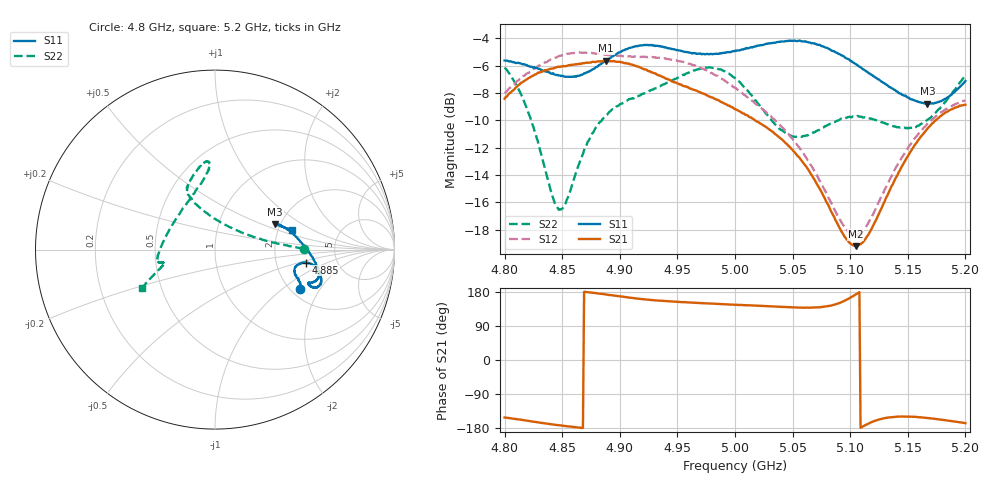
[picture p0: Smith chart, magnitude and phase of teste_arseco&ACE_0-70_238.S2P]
! Network Analyzer HP8722D
! Hewlett-Packard
! Data name: Linha & Wilkinson
! Saver's name: Rodrigo Anjos
! Comments: Teste da utilização de aquisição
! continua pelo VNA HP8722D
! Time and date: 8/5/2025 14:44
!  Frequency  S11  S21  S12  S22
# HZ  S  MA R 50
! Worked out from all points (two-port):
!   401 points, 4.8 GHz to 5.2 GHz, reference 50 ohm
!   highest |S21| = -5.63 dB at 4.888 GHz (marker M1); lowest = -19.2 dB at 5.105 GHz (marker M2)
!   |S21| within 3 dB of the highest: start of sweep to 4.987 GHz
!   lowest |S11| = -8.8 dB at 5.167 GHz (marker M3), VSWR 2.14, Z = 93.7 + j30.8 ohm
!   |S11| at or under -10 dB: nowhere
!   |S22| runs from -16.6 to -6.1 dB; largest |S21 - S12| = 1.1
!   S11 on the Smith chart (normalised r, x): 4.8 GHz: 2.23, -1.36; 4.885 GHz: 2.98, -0.59; 5.2 GHz: 2.36, +0.65
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4.8e9  0.5238 -25.0  0.3795 -151.8  0.3982 7.4  0.4934 0.6
4.818e9  0.5053 -20.9  0.4428 -159.4  0.4639 4.9  0.361 5.1
4.846e9  0.4639 -16.4  0.4967 -171.9  0.5402 0.4  0.1513 54.4
4.853e9  0.457 -14.5  0.4995 -174.3  0.5513 -0.7  0.1572 80.2
4.867e9  0.464 -10.8  0.5105 -179.3  0.5594 -2.9  0.2329 107.2
4.885e9  0.5133 -8.1  0.521 174.3  0.5514 -3.9  0.3195 115.1
4.888e9  0.5233 -8.2  0.5231 173.0  0.5505 -3.9  0.3296 115.7
4.912e9  0.5883 -11.8  0.5036 163.3  0.54 -3.3  0.3802 113.7
4.934e9  0.591 -16.7  0.4611 156.4  0.5364 -3.8  0.4203 108.0
4.974e9  0.5524 -19.7  0.3944 149.7  0.4834 -7.5  0.493 96.0
5e9  0.5689 -20.8  0.3474 145.6  0.4163 -7.3  0.4517 94.5
5.016e9  0.5878 -20.7  0.3196 143.9  0.3696 -5.0  0.3826 100.9
5.044e9  0.617 -18.7  0.2608 139.8  0.2886 1.1  0.2837 132.4
5.067e9  0.6065 -14.0  0.1982 138.2  0.2133 8.5  0.2839 165.2
5.093e9  0.5463 -4.7  0.1228 153.4  0.1324 32.7  0.3194 -173.8
5.105e9  0.508 0.8  0.1094 173.6  0.1201 55.8  0.326 -169.7
5.116e9  0.4709 6.6  0.121 -167.7  0.1339 76.4  0.3231 -167.4
5.134e9  0.4187 15.4  0.174 -151.5  0.1905 94.1  0.3043 -166.2
5.152e9  0.3791 21.7  0.2416 -149.6  0.2569 99.0  0.297 -164.7
5.167e9  0.3637 23.1  0.2949 -153.1  0.3068 99.7  0.3173 -161.7
5.183e9  0.38 20.6  0.3385 -159.1  0.3473 99.6  0.3707 -157.2
5.2e9  0.4407 14.6  0.3606 -166.6  0.3747 100.1  0.4632 -152.1
